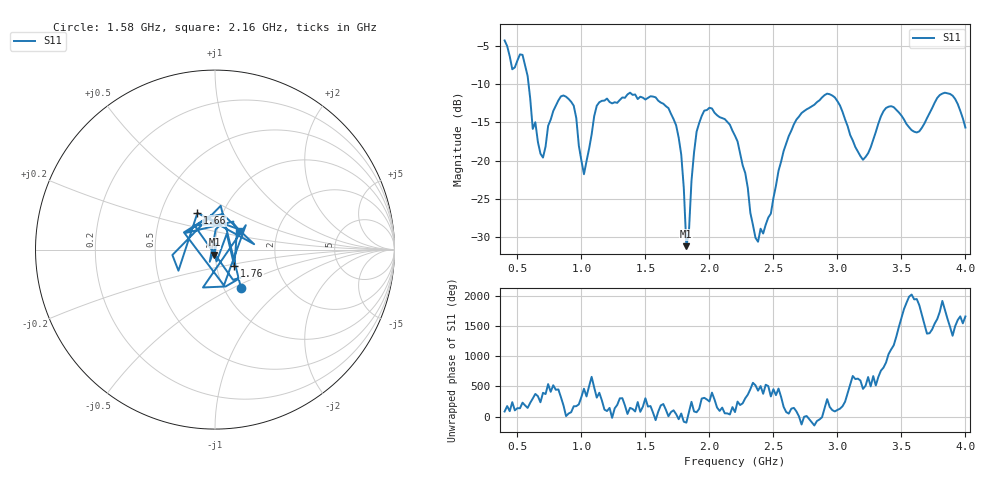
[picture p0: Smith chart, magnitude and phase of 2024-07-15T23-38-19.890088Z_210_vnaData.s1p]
!Created with skrf (http://scikit-rf.org).
# Hz S RI R 50.0
!freq ReS11 ImS11
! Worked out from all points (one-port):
!   181 points, 400 MHz to 4 GHz, reference 50 ohm
!   lowest |S11| = -31.1 dB at 1.82 GHz (marker M1), VSWR 1.06, Z = 49.6 - j2.73 ohm
!   |S11| at or under -10 dB: 587.1 MHz to end of sweep
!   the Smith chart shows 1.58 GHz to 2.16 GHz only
!   S11 on the Smith chart (normalised r, x): 1.58 GHz: 1.20, -0.55; 1.66 GHz: 0.76, +0.33; 1.76 GHz: 1.22, -0.23; 2.16 GHz: 1.28, +0.28
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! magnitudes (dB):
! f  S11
! 400 MHz  -4.3
! 460 MHz  -8.1
! 540 MHz  -6.2
! 620 MHz  -15.9
! 700 MHz  -19.6
! 860 MHz  -11.5
! 940 MHz  -12.8
! 1.02 GHz  -21.8
! 1.12 GHz  -12.8
! 1.3 GHz  -12.1
! 1.58 GHz  -11.7
! 1.66 GHz  -12.9
! 1.76 GHz  -17.0
! 1.8 GHz  -23.6
! 1.82 GHz  -31.1
! 1.88 GHz  -18.9
! 1.92 GHz  -15.1
! 2.16 GHz  -15.3
! 2.2 GHz  -16.7
! 2.38 GHz  -30.6
! 2.66 GHz  -15.3
! 2.92 GHz  -11.3
! 3.1 GHz  -16.7
! 3.2 GHz  -19.9
! 3.38 GHz  -13.1
! 3.56 GHz  -15.6
! 3.84 GHz  -11.1
! 4 GHz  -15.7
